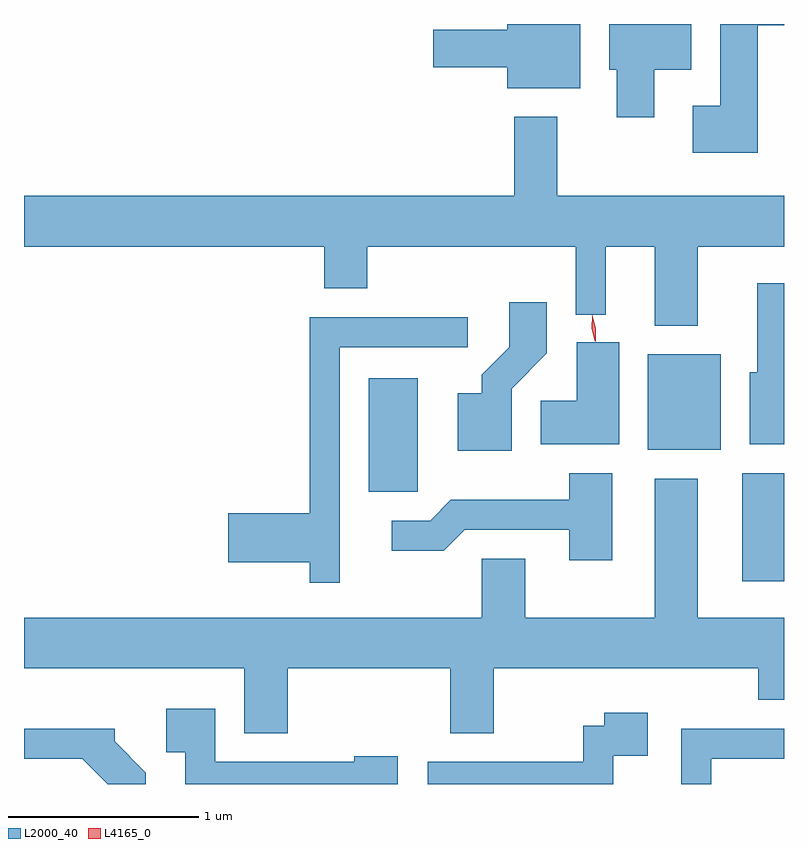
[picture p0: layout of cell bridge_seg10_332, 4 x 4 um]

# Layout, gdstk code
import gdstk
lib = gdstk.Library(unit=1e-6, precision=1e-09)
def R(c, l, rs):  # rectangles x0, y0, x1, y1
    for r in rs: c.add(gdstk.rectangle(r[:2], r[2:], *l))
def P(c, l, *ps):  # polygons
    for p in ps: c.add(gdstk.Polygon(p, *l))
L2000_40 = (2000, 40)
L4165_0 = (4165, 0)

bridge_seg10_332 = lib.new_cell('bridge_seg10_332')
R(bridge_seg10_332, L2000_40, [(1343.541,2154.336,1343.762,2154.904), (1341.576,2154.806,1341.834,2155.404), (1343.046,2155.026,1343.429,2155.529)])
P(bridge_seg10_332, L2000_40, [(1343.624,2157.261),(1343.762,2157.261),(1343.762,2157.268),(1343.426,2157.268),(1343.426,2156.839),(1343.281,2156.839),(1343.281,2156.591),(1343.624,2156.591)],
  [(1343.079,2157.026),(1343.274,2157.026),(1343.274,2157.268),(1342.841,2157.268),(1342.841,2157.026),(1342.881,2157.026),(1342.881,2156.776),(1343.079,2156.776)],
  [(1342.689,2157.268),(1342.306,2157.268),(1342.306,2157.239),(1341.916,2157.239),(1341.916,2157.041),(1342.306,2157.041),(1342.306,2156.931),(1342.689,2156.931)],
  [(1343.309,2156.096),(1343.762,2156.096),(1343.762,2156.364),(1342.569,2156.364),(1342.569,2156.779),(1342.341,2156.779),(1342.341,2156.364),(1339.762,2156.364),(1339.762,2156.096),(1341.341,2156.096),(1341.341,2155.876),(1341.569,2155.876),(1341.569,2156.096),(1342.666,2156.096),(1342.666,2155.738),(1342.824,2155.738),(1342.824,2156.096),(1343.081,2156.096),(1343.081,2155.681),(1343.309,2155.681)],
  [(1343.762,2155.904),(1343.621,2155.904),(1343.621,2155.434),(1343.581,2155.434),(1343.581,2155.056),(1343.762,2155.056)],
  [(1342.329,2155.349),(1342.514,2155.534),(1342.514,2155.804),(1342.316,2155.804),(1342.316,2155.567),(1342.171,2155.422),(1342.171,2155.324),(1342.046,2155.324),(1342.046,2155.021),(1342.329,2155.021)],
  [(1341.424,2155.566),(1342.098,2155.566),(1342.098,2155.724),(1341.266,2155.724),(1341.266,2154.694),(1340.836,2154.694),(1340.836,2154.436),(1341.266,2154.436),(1341.266,2154.328),(1341.424,2154.328)],
  [(1342.894,2155.594),(1342.671,2155.594),(1342.671,2155.284),(1342.481,2155.284),(1342.481,2155.056),(1342.894,2155.056)],
  [(1342.859,2154.904),(1342.631,2154.904),(1342.631,2154.764),(1342.009,2154.764),(1341.899,2154.654),(1341.698,2154.654),(1341.698,2154.496),(1341.972,2154.496),(1342.082,2154.606),(1342.631,2154.606),(1342.631,2154.446),(1342.859,2154.446)],
  [(1339.762,2153.876),(1340.921,2153.876),(1340.921,2153.536),(1341.149,2153.536),(1341.149,2153.876),(1342.006,2153.876),(1342.006,2153.536),(1342.234,2153.536),(1342.234,2153.876),(1343.626,2153.876),(1343.626,2153.711),(1343.762,2153.711),(1343.762,2154.144),(1343.309,2154.144),(1343.309,2154.874),(1343.081,2154.874),(1343.081,2154.144),(1342.399,2154.144),(1342.399,2154.454),(1342.171,2154.454),(1342.171,2154.144),(1339.762,2154.144)],
  [(1341.729,2153.414),(1341.501,2153.414),(1341.501,2153.384),(1340.769,2153.384),(1340.769,2153.664),(1340.511,2153.664),(1340.511,2153.436),(1340.611,2153.436),(1340.611,2153.268),(1341.729,2153.268)],
  [(1342.864,2153.416),(1343.044,2153.416),(1343.044,2153.644),(1342.816,2153.644),(1342.816,2153.574),(1342.706,2153.574),(1342.706,2153.384),(1341.886,2153.384),(1341.886,2153.268),(1342.864,2153.268)],
  [(1343.379,2153.401),(1343.762,2153.401),(1343.762,2153.559),(1343.221,2153.559),(1343.221,2153.268),(1343.379,2153.268)],
  [(1340.404,2153.327),(1340.239,2153.492),(1340.239,2153.559),(1339.762,2153.559),(1339.762,2153.401),(1340.069,2153.401),(1340.202,2153.268),(1340.404,2153.268)])
P(bridge_seg10_332, L4165_0, [(1342.769,2155.597),(1342.768,2155.598),(1342.751,2155.665),(1342.752,2155.734),(1342.753,2155.735),(1342.753,2155.734),(1342.771,2155.668),(1342.77,2155.598)],
  [(1342.767,2155.6),(1342.751,2155.664),(1342.753,2155.731),(1342.753,2155.731),(1342.754,2155.731),(1342.77,2155.667),(1342.768,2155.6),(1342.768,2155.6)])

lib.write_gds('bridge_seg10_332.gds')
